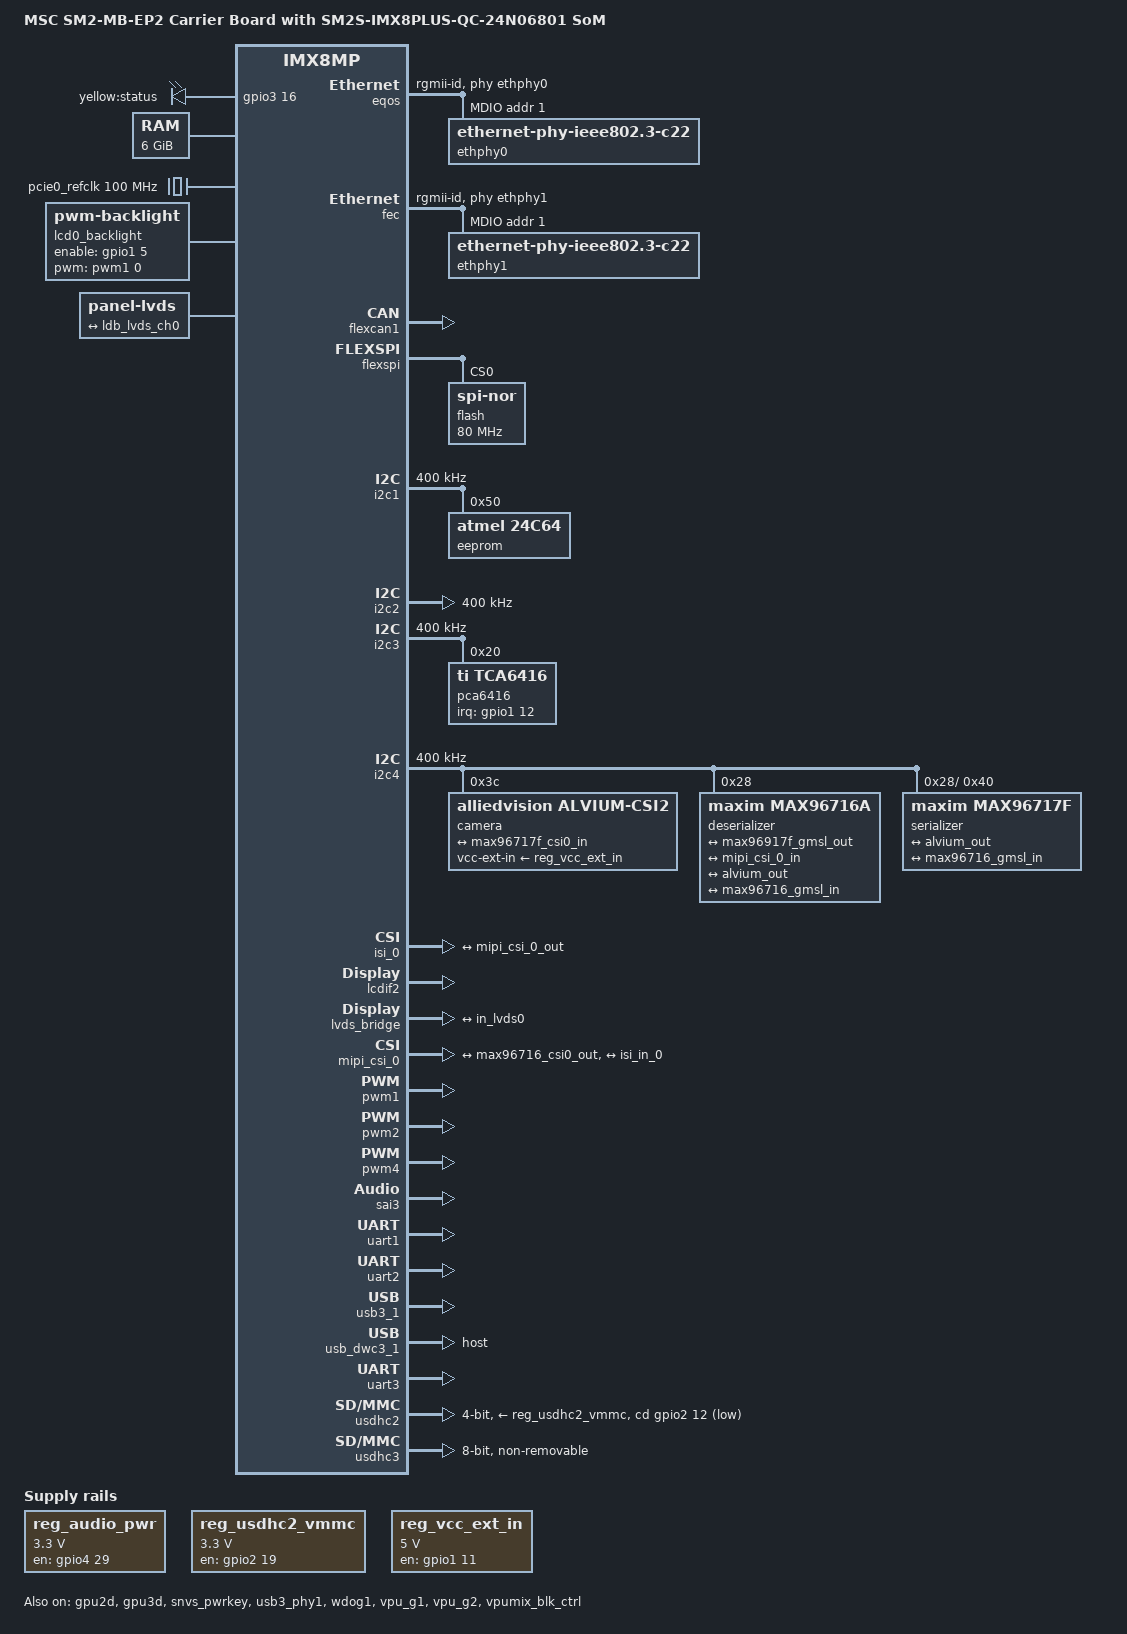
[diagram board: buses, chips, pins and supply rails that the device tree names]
// SPDX-License-Identifier: GPL-2.0
/*
* Copyright (C) 2024 Avnet Software and Services EMEA
*/
/dts-v1/;

#include "imx8mp.dtsi"
#include <dt-bindings/clock/imx8mp-clock.h>
#include <dt-bindings/gpio/gpio.h>
#include <dt-bindings/media/video-interfaces.h>
#include <dt-bindings/net/ti-dp83867.h>
#include <dt-bindings/phy/phy-imx8-pcie.h>

/ {
	model = "MSC SM2-MB-EP2 Carrier Board with SM2S-IMX8PLUS-QC-24N06801 SoM";
	compatible = "fsl,imx8mp-sm2s-ep5", "fsl,imx8mp";

	chosen {
		stdout-path = &uart2;
	};

	gpio-leds {
		compatible = "gpio-leds";
		pinctrl-names = "default";
		pinctrl-0 = <&pinctrl_gpio_led>;

		status {
			label = "yellow:status";
			gpios = <&gpio3 16 GPIO_ACTIVE_HIGH>;
			default-state = "on";
		};
	};

	memory@40000000 {
		device_type = "memory";
		reg = <0x0 0x40000000 0 0xc0000000>,
		      <0x1 0x00000000 0 0xc0000000>;
	};

	pcie0_refclk: pcie0-refclk {
		compatible = "fixed-clock";
		#clock-cells = <0>;
		clock-frequency = <100000000>;
	};

	reg_audio_pwr: regulator-audio-pwr {
		compatible = "regulator-fixed";
		pinctrl-names = "default";
		pinctrl-0 = <&pinctrl_audio_pwr_reg>;
		regulator-name = "audio-pwr";
		regulator-min-microvolt = <3300000>;
		regulator-max-microvolt = <3300000>;
		gpio = <&gpio4 29 GPIO_ACTIVE_HIGH>;
		enable-active-high;
	};

	reg_usdhc2_vmmc: regulator-usdhc2 {
		compatible = "regulator-fixed";
		pinctrl-names = "default";
		pinctrl-0 = <&pinctrl_reg_usdhc2_vmmc>;
		regulator-name = "VSD_3V3";
		regulator-min-microvolt = <3300000>;
		regulator-max-microvolt = <3300000>;
		gpio = <&gpio2 19 GPIO_ACTIVE_HIGH>;
		enable-active-high;
	};

	reserved-memory {
		#address-cells = <2>;
		#size-cells = <2>;
		ranges;

		dsp_vdev0vring0: vdev0vring0@942f0000 {
			reg = <0 0x942f0000 0 0x8000>;
			no-map;
		};

		dsp_vdev0vring1: vdev0vring1@942f8000 {
			reg = <0 0x942f8000 0 0x8000>;
			no-map;
		};

		dsp_vdev0buffer: vdev0buffer@94300000 {
			compatible = "shared-dma-pool";
			reg = <0 0x94300000 0 0x100000>;
			no-map;
		};
	};

	reg_vcc_ext_in: regulator-vcc-ext-in {
		compatible = "regulator-fixed";
		regulator-name = "vcc-ext-in";
		pinctrl-names = "default";
		pinctrl-0 = <&pinctrl_csi0_pwn>;
		regulator-min-microvolt = <5000000>;
		regulator-max-microvolt = <5000000>;
		gpio = <&gpio1 11 GPIO_ACTIVE_HIGH>;
		regulator-boot-on;
		regulator-always-on;
		enable-active-high;
	};

	lcd0_backlight {
		pinctrl-names = "default";
		pinctrl-0 = <&pinctrl_lcd0_backlight>;
		compatible = "pwm-backlight";
		pwms = <&pwm1 0 100000>;
		brightness-levels = <1 255>;
		num-interpolated-steps = <254>;
		default-brightness-level = <100>;
		enable-gpios = <&gpio1 5 GPIO_ACTIVE_HIGH>;
		status = "okay";
	};

	panel {
		compatible = "panel-lvds";

		width-mm = <153>;
		height-mm = <90>;
		data-mapping = "vesa-24";

		panel-timing {
			/* 1024x600 @60Hz */
			clock-frequency = <71100000>;
			hactive = <1280>;
			vactive = <800>;
			hsync-len = <10>;
			hfront-porch = <60>;
			hback-porch = <50>;
			vfront-porch = <10>;
			vback-porch = <8>;
			vsync-len = <2>;
		};

		port {
			in_lvds0: endpoint {
				remote-endpoint = <&ldb_lvds_ch0>;
			};
		};
	};
};

&eqos {
	pinctrl-names = "default";
	pinctrl-0 = <&pinctrl_eqos>;
	phy-mode = "rgmii-id";
	phy-handle = <&ethphy0>;
	snps,force_thresh_dma_mode;
	snps,mtl-tx-config = <&mtl_tx_setup>;
	snps,mtl-rx-config = <&mtl_rx_setup>;
	status = "okay";

	mdio {
		compatible = "snps,dwmac-mdio";
		#address-cells = <1>;
		#size-cells = <0>;

		ethphy0: ethernet-phy@1 {
			compatible = "ethernet-phy-ieee802.3-c22";
			reg = <1>;
			eee-broken-1000t;
			ti,rx-internal-delay = <DP83867_RGMIIDCTL_2_25_NS>;
			ti,tx-internal-delay = <DP83867_RGMIIDCTL_2_25_NS>;
			ti,fifo-depth = <DP83867_PHYCR_FIFO_DEPTH_4_B_NIB>;
		};
	};

	mtl_tx_setup: tx-queues-config {
		snps,tx-queues-to-use = <5>;
		snps,tx-sched-sp;

		queue0 {
			snps,dcb-algorithm;
			snps,priority = <0x1>;
		};

		queue1 {
			snps,dcb-algorithm;
			snps,priority = <0x2>;
		};

		queue2 {
			snps,dcb-algorithm;
			snps,priority = <0x4>;
		};

		queue3 {
			snps,dcb-algorithm;
			snps,priority = <0x8>;
		};

		queue4 {
			snps,dcb-algorithm;
			snps,priority = <0xf0>;
		};
	};

	mtl_rx_setup: rx-queues-config {
		snps,rx-queues-to-use = <5>;
		snps,rx-sched-sp;

		queue0 {
			snps,dcb-algorithm;
			snps,priority = <0x1>;
			snps,map-to-dma-channel = <0>;
		};

		queue1 {
			snps,dcb-algorithm;
			snps,priority = <0x2>;
			snps,map-to-dma-channel = <1>;
		};

		queue2 {
			snps,dcb-algorithm;
			snps,priority = <0x4>;
			snps,map-to-dma-channel = <2>;
		};

		queue3 {
			snps,dcb-algorithm;
			snps,priority = <0x8>;
			snps,map-to-dma-channel = <3>;
		};

		queue4 {
			snps,dcb-algorithm;
			snps,priority = <0xf0>;
			snps,map-to-dma-channel = <4>;
		};
	};
};

&fec {
	pinctrl-names = "default";
	pinctrl-0 = <&pinctrl_fec>;
	phy-mode = "rgmii-id";
	phy-handle = <&ethphy1>;
	fsl,magic-packet;
	status = "okay";

	mdio {
		#address-cells = <1>;
		#size-cells = <0>;

		ethphy1: ethernet-phy@1 {
			compatible = "ethernet-phy-ieee802.3-c22";
			reg = <1>;
			eee-broken-1000t;
			ti,rx-internal-delay = <DP83867_RGMIIDCTL_2_25_NS>;
			ti,tx-internal-delay = <DP83867_RGMIIDCTL_2_25_NS>;
			ti,fifo-depth = <DP83867_PHYCR_FIFO_DEPTH_4_B_NIB>;
		};
	};
};

&flexcan1 {
	pinctrl-names = "default";
	pinctrl-0 = <&pinctrl_flexcan1>;
	status = "okay";
};

&flexcan2 {
	pinctrl-names = "default";
	pinctrl-0 = <&pinctrl_flexcan2>;
	status = "disabled";/* can2 pin conflict with pdm */
};

&flexspi {
	pinctrl-names = "default";
	pinctrl-0 = <&pinctrl_flexspi0>;
	status = "okay";

	flash@0 {
		compatible = "jedec,spi-nor";
		reg = <0>;
		spi-max-frequency = <80000000>;
		spi-tx-bus-width = <1>;
		spi-rx-bus-width = <4>;
	};
};

&gpu2d {
	status = "okay";
};

&gpu3d {
	status = "okay";
};

&hdmi_pvi {
	status = "disabled";
};

&hdmi_tx {
	pinctrl-names = "default";
	pinctrl-0 = <&pinctrl_hdmi>;
	status = "disabled";
};

&hdmi_tx_phy {
	status = "disabled";
};

&i2c1 {
	clock-frequency = <400000>;
	pinctrl-names = "default";
	pinctrl-0 = <&pinctrl_i2c1>;
	status = "okay";

	eeprom@50 {
		compatible = "atmel,24c64";
		reg = <0x50>;
		pagesize = <32>;
	};
};

&i2c2 {
	clock-frequency = <400000>;
	pinctrl-names = "default";
	pinctrl-0 = <&pinctrl_i2c2>;
	status = "okay";
};

&i2c3 {
	clock-frequency = <400000>;
	pinctrl-names = "default";
	pinctrl-0 = <&pinctrl_i2c3>;
	status = "okay";

	pca6416: gpio@20 {
		compatible = "ti,tca6416";
		reg = <0x20>;
		gpio-controller;
		#gpio-cells = <2>;
		interrupt-controller;
		#interrupt-cells = <2>;
		pinctrl-names = "default";
		pinctrl-0 = <&pinctrl_pca6416_int>;
		interrupt-parent = <&gpio1>;
		interrupts = <12 IRQ_TYPE_LEVEL_LOW>;
		gpio-line-names = "EXT_PWREN1",
			"EXT_PWREN2",
			"CAN1/I2C5_SEL",
			"PDM/CAN2_SEL",
			"FAN_EN",
			"PWR_MEAS_IO1",
			"PWR_MEAS_IO2",
			"EXP_P0_7",
			"EXP_P1_0",
			"EXP_P1_1",
			"EXP_P1_2",
			"EXP_P1_3",
			"EXP_P1_4",
			"EXP_P1_5",
			"EXP_P1_6",
			"EXP_P1_7";
	};
};

&i2c4 {
	#address-cells = <1>;
	#size-cells = <0>;
	clock-frequency = <400000>;
	pinctrl-names = "default";
	pinctrl-0 = <&pinctrl_i2c4>;
	status = "okay";

	camera: alvium@3c {
		compatible = "alliedvision,alvium-csi2";
		reg = <0x3c>;
		vcc-ext-in-supply = <&reg_vcc_ext_in>;
		status = "okay";

		port {
			alvium_out: endpoint {
				remote-endpoint = <&max96717f_csi0_in>;
				data-lanes = <1 2 3 4>;
				link-frequencies = /bits/ 64 <681250000>;
			};
		};
	};

	deserializer@28 {
		compatible = "maxim,max96716a";
		reg = <0x28>;

		ports {
			#address-cells = <1>;
			#size-cells = <0>;
			port@0 {
				reg = <0>;
				max96716_gmsl_in: endpoint {
					remote-endpoint = <&max96917f_gmsl_out>;
				};
			};

			port@1 {
				reg = <1>;
				max96716_csi0_out: endpoint {
					data-lanes = <3 4 1 2>;
					link-frequencies = /bits/ 64 <750000000>;
					remote-endpoint = <&mipi_csi_0_in>;
				};
			};
		};

		i2c-gate {
			#address-cells = <1>;
			#size-cells = <0>;

			serializer@40 {
				compatible = "maxim,max96717f";
				reg = <0x40>;
				gpio-controller;
				#gpio-cells = <2>;
				#clock-cells = <0>;

				ports {
					#address-cells = <1>;
					#size-cells = <0>;

					port@0 {
						reg = <0>;
						max96717f_csi0_in: endpoint {
							data-lanes = <1 2 3 4>;
							remote-endpoint = <&alvium_out>;
						};
					};

					port@1 {
						reg = <1>;
						max96917f_gmsl_out: endpoint {
							remote-endpoint = <&max96716_gmsl_in>;
						};
					};
				};
			};
		};
	};
};

&i2c5 {
	clock-frequency = <100000>;
	pinctrl-names = "default";
	pinctrl-0 = <&pinctrl_i2c5>;
	status = "disabled";
};

&isi_0 {
	status = "okay";
	dma-coherent;

	ports {
		port@0 {
			isi_in_0: endpoint {
				bus-type = <MEDIA_BUS_TYPE_PARALLEL>;
				remote-endpoint = <&mipi_csi_0_out>;
			};
		};
	};
};

&lcdif1 {
	status = "disabled";
};

&lcdif2 {
	status = "okay";
};

&lvds_bridge {
	/* IMX8MP_CLK_MEDIA_LDB = IMX8MP_CLK_MEDIA_DISP2_PIX * 7 */
	assigned-clock-rates = <497700000>;
	status = "okay";

	ports {
		port@1 {
			ldb_lvds_ch0: endpoint {
				remote-endpoint = <&in_lvds0>;
			};
		};
	};
};

&media_blk_ctrl {
	/* currently it is not possible to let display clocks confugure
	 * automatically, so we need to set them manually
	 */
	assigned-clock-rates = <500000000>, <200000000>, <0>,
		/* IMX8MP_CLK_MEDIA_DISP2_PIX = pixelclk of lvds panel */
		<71100000>,
		/* IMX8MP_VIDEO_PLL1 = IMX8MP_CLK_MEDIA_LDB * 2 */
		<995400000>;
};

&mipi_csi_0 {
	clock-frequency = <681250000>;
	assigned-clock-rates = <500000000>;
	status = "okay";

	ports {
		port@0 {
			mipi_csi_0_in: endpoint {
				remote-endpoint = <&max96716_csi0_out>;
				data-lanes = <1 2 3 4>;
				clock-lanes = <0>;
			};
		};

		port@1 {
			mipi_csi_0_out: endpoint {
				remote-endpoint = <&isi_in_0>;
			};
		};
	};
};

&pwm1 {
	#pwm-cells = <2>;
	pinctrl-names = "default";
	pinctrl-0 = <&pinctrl_pwm1>;
	status = "okay";
};

&pwm2 {
	#pwm-cells = <2>;
	pinctrl-names = "default";
	pinctrl-0 = <&pinctrl_pwm2>;
	status = "okay";
};

&pwm4 {
	pinctrl-names = "default";
	pinctrl-0 = <&pinctrl_pwm4>;
	status = "okay";
};

&sai3 {
	pinctrl-names = "default";
	pinctrl-0 = <&pinctrl_sai3>;
	assigned-clocks = <&clk IMX8MP_CLK_SAI3>;
	assigned-clock-parents = <&clk IMX8MP_AUDIO_PLL1_OUT>;
	assigned-clock-rates = <12288000>;
	fsl,sai-mclk-direction-output;
	status = "okay";
};

&snvs_pwrkey {
	status = "okay";
};

&uart1 { /* BT */
	pinctrl-names = "default";
	pinctrl-0 = <&pinctrl_uart1>;
	assigned-clocks = <&clk IMX8MP_CLK_UART1>;
	assigned-clock-parents = <&clk IMX8MP_SYS_PLL1_80M>;
	uart-has-rtscts;
	status = "okay";
};

&uart2 {
	/* console */
	pinctrl-names = "default";
	pinctrl-0 = <&pinctrl_uart2>;
	status = "okay";
};

&usb3_phy1 {
	status = "okay";
};

&usb3_1 {
	status = "okay";
};

&usb_dwc3_1 {
	pinctrl-names = "default";
	pinctrl-0 = <&pinctrl_usb1_vbus>;
	dr_mode = "host";
	status = "okay";
};

&uart3 {
	pinctrl-names = "default";
	pinctrl-0 = <&pinctrl_uart3>;
	assigned-clocks = <&clk IMX8MP_CLK_UART3>;
	assigned-clock-parents = <&clk IMX8MP_SYS_PLL1_80M>;
	uart-has-rtscts;
	status = "okay";
};

&usdhc2 {
	assigned-clocks = <&clk IMX8MP_CLK_USDHC2>;
	assigned-clock-rates = <400000000>;
	pinctrl-names = "default", "state_100mhz", "state_200mhz";
	pinctrl-0 = <&pinctrl_usdhc2>, <&pinctrl_usdhc2_gpio>;
	pinctrl-1 = <&pinctrl_usdhc2_100mhz>, <&pinctrl_usdhc2_gpio>;
	pinctrl-2 = <&pinctrl_usdhc2_200mhz>, <&pinctrl_usdhc2_gpio>;
	cd-gpios = <&gpio2 12 GPIO_ACTIVE_LOW>;
	vmmc-supply = <&reg_usdhc2_vmmc>;
	bus-width = <4>;
	status = "okay";
};

&usdhc3 {
	assigned-clocks = <&clk IMX8MP_CLK_USDHC3>;
	assigned-clock-rates = <400000000>;
	pinctrl-names = "default", "state_100mhz", "state_200mhz";
	pinctrl-0 = <&pinctrl_usdhc3>;
	pinctrl-1 = <&pinctrl_usdhc3_100mhz>;
	pinctrl-2 = <&pinctrl_usdhc3_200mhz>;
	bus-width = <8>;
	non-removable;
	status = "okay";
};

&wdog1 {
	pinctrl-names = "default";
	pinctrl-0 = <&pinctrl_wdog>;
	fsl,ext-reset-output;
	status = "okay";
};

&vpu_g1{
	status = "okay";
};

&vpu_g2{
	status = "okay";
};

&vpumix_blk_ctrl{
	status = "okay";
};

&iomuxc {
	pinctrl_audio_pwr_reg: audiopwrreggrp {
		fsl,pins = <
			MX8MP_IOMUXC_SAI3_RXC__GPIO4_IO29		0xd6
		>;
	};

	pinctrl_csi0_pwn: csi0_pwn_grp {
		fsl,pins = <
			MX8MP_IOMUXC_GPIO1_IO11__GPIO1_IO11	0x19
		>;
	};

	pinctrl_eqos: eqosgrp {
		fsl,pins = <
			MX8MP_IOMUXC_ENET_MDC__ENET_QOS_MDC				0x2
			MX8MP_IOMUXC_ENET_MDIO__ENET_QOS_MDIO				0x2
			MX8MP_IOMUXC_ENET_RD0__ENET_QOS_RGMII_RD0			0x90
			MX8MP_IOMUXC_ENET_RD1__ENET_QOS_RGMII_RD1			0x90
			MX8MP_IOMUXC_ENET_RD2__ENET_QOS_RGMII_RD2			0x90
			MX8MP_IOMUXC_ENET_RD3__ENET_QOS_RGMII_RD3			0x90
			MX8MP_IOMUXC_ENET_RXC__CCM_ENET_QOS_CLOCK_GENERATE_RX_CLK	0x90
			MX8MP_IOMUXC_ENET_RX_CTL__ENET_QOS_RGMII_RX_CTL			0x90
			MX8MP_IOMUXC_ENET_TD0__ENET_QOS_RGMII_TD0			0x16
			MX8MP_IOMUXC_ENET_TD1__ENET_QOS_RGMII_TD1			0x16
			MX8MP_IOMUXC_ENET_TD2__ENET_QOS_RGMII_TD2			0x16
			MX8MP_IOMUXC_ENET_TD3__ENET_QOS_RGMII_TD3			0x16
			MX8MP_IOMUXC_ENET_TX_CTL__ENET_QOS_RGMII_TX_CTL			0x16
			MX8MP_IOMUXC_ENET_TXC__CCM_ENET_QOS_CLOCK_GENERATE_TX_CLK	0x16
		>;
	};

	pinctrl_fec: fecgrp {
		fsl,pins = <
			MX8MP_IOMUXC_SAI1_RXD2__ENET1_MDC		0x2
			MX8MP_IOMUXC_SAI1_RXD3__ENET1_MDIO		0x2
			MX8MP_IOMUXC_SAI1_RXD4__ENET1_RGMII_RD0		0x90
			MX8MP_IOMUXC_SAI1_RXD5__ENET1_RGMII_RD1		0x90
			MX8MP_IOMUXC_SAI1_RXD6__ENET1_RGMII_RD2		0x90
			MX8MP_IOMUXC_SAI1_RXD7__ENET1_RGMII_RD3		0x90
			MX8MP_IOMUXC_SAI1_TXC__ENET1_RGMII_RXC		0x90
			MX8MP_IOMUXC_SAI1_TXFS__ENET1_RGMII_RX_CTL	0x90
			MX8MP_IOMUXC_SAI1_TXD0__ENET1_RGMII_TD0		0x16
			MX8MP_IOMUXC_SAI1_TXD1__ENET1_RGMII_TD1		0x16
			MX8MP_IOMUXC_SAI1_TXD2__ENET1_RGMII_TD2		0x16
			MX8MP_IOMUXC_SAI1_TXD3__ENET1_RGMII_TD3		0x16
			MX8MP_IOMUXC_SAI1_TXD4__ENET1_RGMII_TX_CTL	0x16
			MX8MP_IOMUXC_SAI1_TXD5__ENET1_RGMII_TXC		0x16
			MX8MP_IOMUXC_SAI1_RXD0__GPIO4_IO02		0x10
		>;
	};

	pinctrl_flexcan1: flexcan1grp {
		fsl,pins = <
			MX8MP_IOMUXC_SPDIF_RX__CAN1_RX          0x154
			MX8MP_IOMUXC_SPDIF_TX__CAN1_TX          0x154
		>;
	};

	pinctrl_flexcan2: flexcan2grp {
		fsl,pins = <
			MX8MP_IOMUXC_SAI5_MCLK__CAN2_RX         0x154
			MX8MP_IOMUXC_SAI5_RXD3__CAN2_TX         0x154
		>;
	};

	pinctrl_flexspi0: flexspi0grp {
		fsl,pins = <
			MX8MP_IOMUXC_NAND_ALE__FLEXSPI_A_SCLK           0x1c2
			MX8MP_IOMUXC_NAND_CE0_B__FLEXSPI_A_SS0_B        0x82
			MX8MP_IOMUXC_NAND_DATA00__FLEXSPI_A_DATA00      0x82
			MX8MP_IOMUXC_NAND_DATA01__FLEXSPI_A_DATA01      0x82
			MX8MP_IOMUXC_NAND_DATA02__FLEXSPI_A_DATA02      0x82
			MX8MP_IOMUXC_NAND_DATA03__FLEXSPI_A_DATA03      0x82
		>;
	};

	pinctrl_gpio_led: gpioledgrp {
		fsl,pins = <
			MX8MP_IOMUXC_NAND_READY_B__GPIO3_IO16	0x140
		>;
	};

	pinctrl_hdmi: hdmigrp {
		fsl,pins = <
			MX8MP_IOMUXC_HDMI_DDC_SCL__HDMIMIX_HDMI_SCL	0x1c3
			MX8MP_IOMUXC_HDMI_DDC_SDA__HDMIMIX_HDMI_SDA	0x1c3
			MX8MP_IOMUXC_HDMI_HPD__HDMIMIX_HDMI_HPD		0x19
			MX8MP_IOMUXC_HDMI_CEC__HDMIMIX_HDMI_CEC		0x19
		>;
	};

	pinctrl_i2c1: i2c1grp {
		fsl,pins = <
			MX8MP_IOMUXC_I2C1_SCL__I2C1_SCL		0x400001c2
			MX8MP_IOMUXC_I2C1_SDA__I2C1_SDA		0x400001c2
		>;
	};

	pinctrl_i2c2: i2c2grp {
		fsl,pins = <
			MX8MP_IOMUXC_I2C2_SCL__I2C2_SCL		0x400001c2
			MX8MP_IOMUXC_I2C2_SDA__I2C2_SDA		0x400001c2
		>;
	};

	pinctrl_i2c3: i2c3grp {
		fsl,pins = <
			MX8MP_IOMUXC_I2C3_SCL__I2C3_SCL		0x400001c2
			MX8MP_IOMUXC_I2C3_SDA__I2C3_SDA		0x400001c2
		>;
	};

	pinctrl_i2c4: i2c4grp {
		fsl,pins = <
			MX8MP_IOMUXC_I2C4_SCL__I2C4_SCL		0x400001c3
			MX8MP_IOMUXC_I2C4_SDA__I2C4_SDA		0x400001c3
		>;
	};

	pinctrl_i2c5: i2c5grp {
		fsl,pins = <
			MX8MP_IOMUXC_SPDIF_RX__I2C5_SDA         0x400001c2
			MX8MP_IOMUXC_SPDIF_TX__I2C5_SCL         0x400001c2
		>;
	};

	pinctrl_lcd0_backlight: lcd0grp-backlight {
		fsl,pins = <
			MX8MP_IOMUXC_GPIO1_IO05__GPIO1_IO05	0x40
		>;
	};

	pinctrl_pca6416_int: pca6416_int_grp {
		fsl,pins = <
			MX8MP_IOMUXC_GPIO1_IO12__GPIO1_IO12	0x146 /* Input pull-up. */
		>;
	};

	pinctrl_pwm1: pwm1grp {
		fsl,pins = <
			MX8MP_IOMUXC_SPDIF_EXT_CLK__PWM1_OUT		0x116
		>;
	};

	pinctrl_pwm2: pwm2grp {
		fsl,pins = <
			MX8MP_IOMUXC_SAI5_RXD0__PWM2_OUT	0x116
		>;
	};

	pinctrl_pwm4: pwm4grp {
		fsl,pins = <
			MX8MP_IOMUXC_SAI5_RXFS__PWM4_OUT	0x116
		>;
	};

	pinctrl_reg_usdhc2_vmmc: regusdhc2vmmcgrp {
		fsl,pins = <
			MX8MP_IOMUXC_SD2_RESET_B__GPIO2_IO19	0x40
		>;
	};

	pinctrl_uart1: uart1grp {
		fsl,pins = <
			MX8MP_IOMUXC_UART1_RXD__UART1_DCE_RX	0x140
			MX8MP_IOMUXC_UART1_TXD__UART1_DCE_TX	0x140
			MX8MP_IOMUXC_UART3_RXD__UART1_DCE_CTS	0x140
			MX8MP_IOMUXC_UART3_TXD__UART1_DCE_RTS	0x140
		>;
	};

	pinctrl_sai3: sai3grp {
		fsl,pins = <
			MX8MP_IOMUXC_SAI3_TXFS__AUDIOMIX_SAI3_TX_SYNC	0xd6
			MX8MP_IOMUXC_SAI3_TXC__AUDIOMIX_SAI3_TX_BCLK	0xd6
			MX8MP_IOMUXC_SAI3_RXD__AUDIOMIX_SAI3_RX_DATA00	0xd6
			MX8MP_IOMUXC_SAI3_TXD__AUDIOMIX_SAI3_TX_DATA00	0xd6
			MX8MP_IOMUXC_SAI3_MCLK__AUDIOMIX_SAI3_MCLK	0xd6
		>;
	};

	pinctrl_uart2: uart2grp {
		fsl,pins = <
			MX8MP_IOMUXC_UART2_RXD__UART2_DCE_RX	0x140
			MX8MP_IOMUXC_UART2_TXD__UART2_DCE_TX	0x140
		>;
	};

	pinctrl_usb1_vbus: usb1grp {
		fsl,pins = <
			MX8MP_IOMUXC_GPIO1_IO14__USB2_OTG_PWR	0x10
		>;
	};

	pinctrl_uart3: uart3grp {
		fsl,pins = <
			MX8MP_IOMUXC_ECSPI1_SCLK__UART3_DCE_RX		0x140
			MX8MP_IOMUXC_ECSPI1_MOSI__UART3_DCE_TX		0x140
			MX8MP_IOMUXC_ECSPI1_SS0__UART3_DCE_RTS		0x140
			MX8MP_IOMUXC_ECSPI1_MISO__UART3_DCE_CTS		0x140
		>;
	};

	pinctrl_usdhc2: usdhc2grp {
		fsl,pins = <
			MX8MP_IOMUXC_SD2_CLK__USDHC2_CLK	0x190
			MX8MP_IOMUXC_SD2_CMD__USDHC2_CMD	0x1d0
			MX8MP_IOMUXC_SD2_DATA0__USDHC2_DATA0	0x1d0
			MX8MP_IOMUXC_SD2_DATA1__USDHC2_DATA1	0x1d0
			MX8MP_IOMUXC_SD2_DATA2__USDHC2_DATA2	0x1d0
			MX8MP_IOMUXC_SD2_DATA3__USDHC2_DATA3	0x1d0
			MX8MP_IOMUXC_GPIO1_IO04__USDHC2_VSELECT	0xc0
		>;
	};

	pinctrl_usdhc2_100mhz: usdhc2-100mhzgrp {
		fsl,pins = <
			MX8MP_IOMUXC_SD2_CLK__USDHC2_CLK	0x194
			MX8MP_IOMUXC_SD2_CMD__USDHC2_CMD	0x1d4
			MX8MP_IOMUXC_SD2_DATA0__USDHC2_DATA0	0x1d4
			MX8MP_IOMUXC_SD2_DATA1__USDHC2_DATA1	0x1d4
			MX8MP_IOMUXC_SD2_DATA2__USDHC2_DATA2	0x1d4
			MX8MP_IOMUXC_SD2_DATA3__USDHC2_DATA3	0x1d4
			MX8MP_IOMUXC_GPIO1_IO04__USDHC2_VSELECT 0xc0
		>;
	};

	pinctrl_usdhc2_200mhz: usdhc2-200mhzgrp {
		fsl,pins = <
			MX8MP_IOMUXC_SD2_CLK__USDHC2_CLK	0x196
			MX8MP_IOMUXC_SD2_CMD__USDHC2_CMD	0x1d6
			MX8MP_IOMUXC_SD2_DATA0__USDHC2_DATA0	0x1d6
			MX8MP_IOMUXC_SD2_DATA1__USDHC2_DATA1	0x1d6
			MX8MP_IOMUXC_SD2_DATA2__USDHC2_DATA2	0x1d6
			MX8MP_IOMUXC_SD2_DATA3__USDHC2_DATA3	0x1d6
			MX8MP_IOMUXC_GPIO1_IO04__USDHC2_VSELECT 0xc0
		>;
	};

	pinctrl_usdhc2_gpio: usdhc2gpiogrp {
		fsl,pins = <
			MX8MP_IOMUXC_SD2_CD_B__GPIO2_IO12	0x1c4
		>;
	};

	pinctrl_usdhc3: usdhc3grp {
		fsl,pins = <
			MX8MP_IOMUXC_NAND_WE_B__USDHC3_CLK	0x190
			MX8MP_IOMUXC_NAND_WP_B__USDHC3_CMD	0x1d0
			MX8MP_IOMUXC_NAND_DATA04__USDHC3_DATA0	0x1d0
			MX8MP_IOMUXC_NAND_DATA05__USDHC3_DATA1	0x1d0
			MX8MP_IOMUXC_NAND_DATA06__USDHC3_DATA2	0x1d0
			MX8MP_IOMUXC_NAND_DATA07__USDHC3_DATA3	0x1d0
			MX8MP_IOMUXC_NAND_RE_B__USDHC3_DATA4	0x1d0
			MX8MP_IOMUXC_NAND_CE2_B__USDHC3_DATA5	0x1d0
			MX8MP_IOMUXC_NAND_CE3_B__USDHC3_DATA6	0x1d0
			MX8MP_IOMUXC_NAND_CLE__USDHC3_DATA7	0x1d0
			MX8MP_IOMUXC_NAND_CE1_B__USDHC3_STROBE	0x190
		>;
	};

	pinctrl_usdhc3_100mhz: usdhc3-100mhzgrp {
		fsl,pins = <
			MX8MP_IOMUXC_NAND_WE_B__USDHC3_CLK	0x194
			MX8MP_IOMUXC_NAND_WP_B__USDHC3_CMD	0x1d4
			MX8MP_IOMUXC_NAND_DATA04__USDHC3_DATA0	0x1d4
			MX8MP_IOMUXC_NAND_DATA05__USDHC3_DATA1	0x1d4
			MX8MP_IOMUXC_NAND_DATA06__USDHC3_DATA2	0x1d4
			MX8MP_IOMUXC_NAND_DATA07__USDHC3_DATA3	0x1d4
			MX8MP_IOMUXC_NAND_RE_B__USDHC3_DATA4	0x1d4
			MX8MP_IOMUXC_NAND_CE2_B__USDHC3_DATA5	0x1d4
			MX8MP_IOMUXC_NAND_CE3_B__USDHC3_DATA6	0x1d4
			MX8MP_IOMUXC_NAND_CLE__USDHC3_DATA7	0x1d4
			MX8MP_IOMUXC_NAND_CE1_B__USDHC3_STROBE	0x194
		>;
	};

	pinctrl_usdhc3_200mhz: usdhc3-200mhzgrp {
		fsl,pins = <
			MX8MP_IOMUXC_NAND_WE_B__USDHC3_CLK	0x196
			MX8MP_IOMUXC_NAND_WP_B__USDHC3_CMD	0x1d6
			MX8MP_IOMUXC_NAND_DATA04__USDHC3_DATA0	0x1d6
			MX8MP_IOMUXC_NAND_DATA05__USDHC3_DATA1	0x1d6
			MX8MP_IOMUXC_NAND_DATA06__USDHC3_DATA2	0x1d6
			MX8MP_IOMUXC_NAND_DATA07__USDHC3_DATA3	0x1d6
			MX8MP_IOMUXC_NAND_RE_B__USDHC3_DATA4	0x1d6
			MX8MP_IOMUXC_NAND_CE2_B__USDHC3_DATA5	0x1d6
			MX8MP_IOMUXC_NAND_CE3_B__USDHC3_DATA6	0x1d6
			MX8MP_IOMUXC_NAND_CLE__USDHC3_DATA7	0x1d6
			MX8MP_IOMUXC_NAND_CE1_B__USDHC3_STROBE	0x196
		>;
	};

	pinctrl_wdog: wdoggrp {
		fsl,pins = <
			MX8MP_IOMUXC_GPIO1_IO02__WDOG1_WDOG_B	0x166
		>;
	};
};
